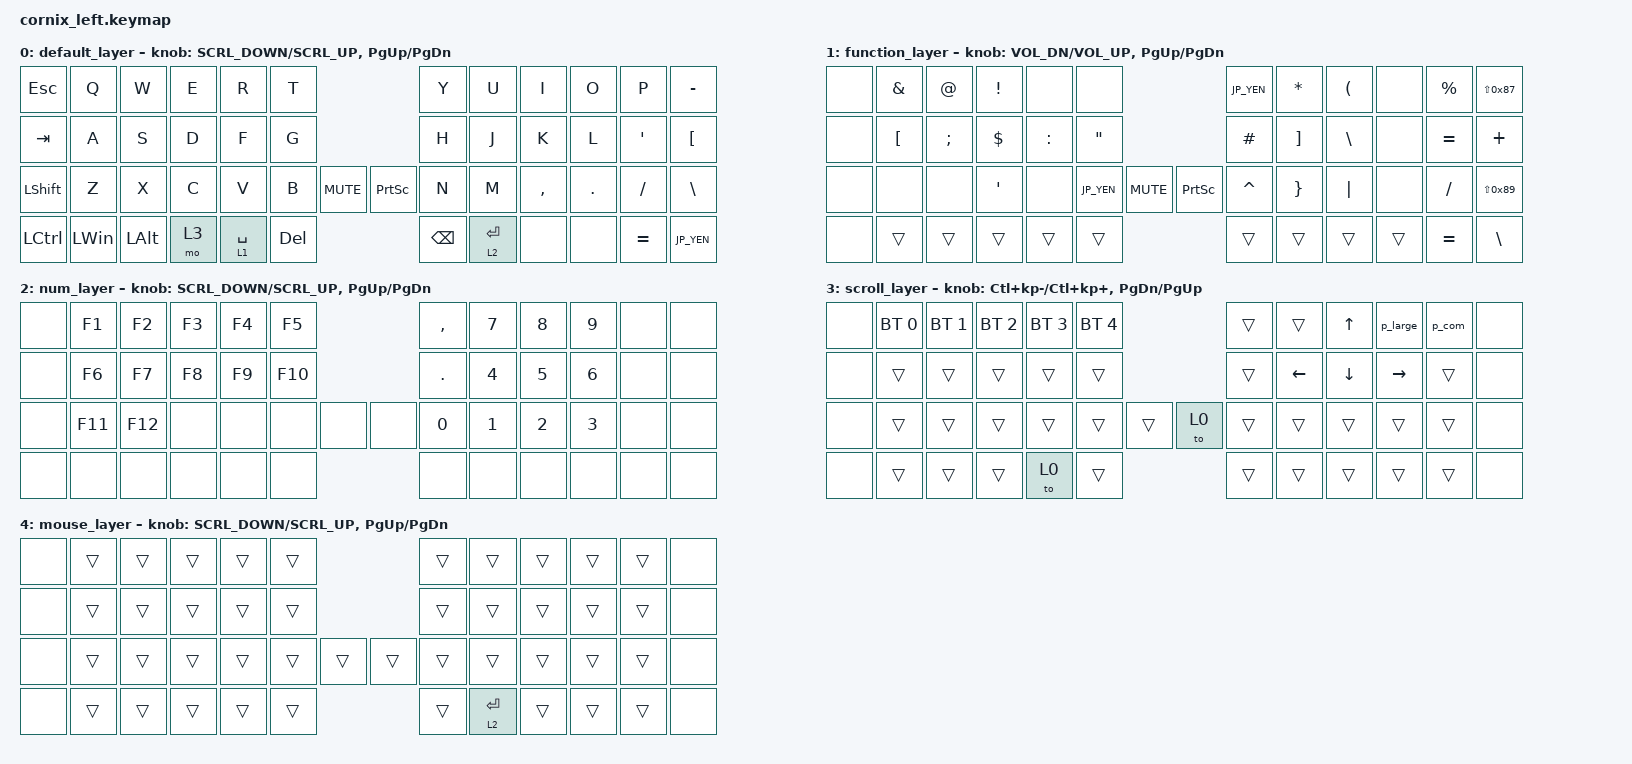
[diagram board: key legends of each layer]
/*
 * Copyright (c) 2025 The ZMK Contributors
 *
 * SPDX-License-Identifier: MIT
 */

#define ZMK_POINTING_DEFAULT_SCRL_VAL 80

#include <input/processors.dtsi>
#include <dt-bindings/zmk/mouse.h>
#include <behaviors.dtsi>
#include <dt-bindings/zmk/bt.h>
#include <dt-bindings/zmk/keys.h>
#include <dt-bindings/zmk/pointing.h>

#define DEFAULT 0
#define FUNCTION 1
#define NUM 2
#define SCROLL 3
#define MOUSE 4

// OS設定を日本語キーボードのまま使用するための変換定義

#define JP_DQUOTE       AT                // "
#define JP_AMPERSAND    CARET             // &
#define JP_QUOTE        AMPERSAND         // '
#define JP_EQUAL        UNDER             // =
#define JP_CARET        EQUAL             // ^
#define JP_YEN          0x89              // ¥
#define JP_PLUS         COLON             // +
#define JP_TILDE        PLUS              // ~
#define JP_PIPE         LS(0x89)          // |
#define JP_AT           LEFT_BRACKET      // @
#define JP_COLON        SINGLE_QUOTE      // :
#define JP_ASTERISK     DOUBLE_QUOTES     // *
#define JP_BACKQUOTE    LEFT_BRACE        // `
#define JP_UNDERSCORE   LS(0x87)          // _
#define JP_LBRACKET     RIGHT_BRACKET     // [
#define JP_RBRACKET     BACKSLASH         // ]
#define JP_LPAREN       ASTERISK          // (
#define JP_RPAREN       LEFT_PARENTHESIS  // )
#define JP_LBRACE       RIGHT_BRACE       // {
#define JP_RBRACE       PIPE              // }
#define JP_KANA         LANGUAGE_1        // かな
#define JP_EISU         LANGUAGE_2        // 英数
#define JP_HANZEN       GRAVE             // 半角/全角

// Configure auto-mouse layer using Input Processor approach
// Based on: https://scrapbox.io/self-made-kbds-ja/ZMK%E3%81%A7%E3%82%AA%E3%83%BC%E3%83%88%E3%83%9E%E3%82%A6%E3%82%B9%E3%83%AC%E3%82%A4%E3%83%A4%E3%83%BC%E3%82%92%E8%A8%AD%E5%AE%9A%E3%81%99%E3%82%8B

&trackball_listener {
    // Auto-mouse layer: activates layer 4 (MOUSE) when trackball moves, 600ms timeout
    // Invert both X and Y axes to reverse trackball direction (180-degree rotation)
    // Value 6 = INPUT_TRANSFORM_X_INVERT (2) | INPUT_TRANSFORM_Y_INVERT (4)
    // Scaler reduces mouse pointer speed to 2/3 for better precision

    input-processors = <
        &zip_xy_transform 6
        &zip_xy_scaler 2 3
        //&zip_temp_layer MOUSE 600
    >;
};

// Scroll mode: layer 3 (SCROLL) activates scroller via overlay configuration
// Scroller configuration is in config/boards/cornix_left.overlay

&mt {
    flavor = "balanced";
    quick-tap-ms = <0>;
};

/ {
    combos {
        compatible = "zmk,combos";

        BT_reset {
            bindings = <&bt BT_CLR>;
            key-positions = <1 5>;
            layers = <3>;
            timeout-ms = <120>;
            require-prior-idle-ms = <150>;
        };

        bootloader {
            bindings = <&none>;
            key-positions = <2 3 4>;
            layers = <3>;
            timeout-ms = <120>;
            require-prior-idle-ms = <150>;
        };

        muhenkan {
            bindings = <&kp INT_MUHENKAN>;
            key-positions = <16 17>;
            layers = <0>;
            timeout-ms = <120>;
            require-prior-idle-ms = <150>;
        };

        henkan {
            bindings = <&kp INT_HENKAN>;
            key-positions = <18 19>;
            layers = <0>;
            timeout-ms = <120>;
            require-prior-idle-ms = <150>;
        };

        mouse1 {
            bindings = <&mkp MB1>;
            key-positions = <19 20>;
            layers = <0>;
            timeout-ms = <120>;
            require-prior-idle-ms = <150>;
        };

        mouse2 {
            bindings = <&mkp MB2>;
            key-positions = <20 21>;
            layers = <0>;
            timeout-ms = <120>;
            require-prior-idle-ms = <150>;
        };

        home {
            bindings = <&kp HOME>;
            key-positions = <28 29>;
            layers = <0>;
            timeout-ms = <120>;
            require-prior-idle-ms = <150>;
        };

        end {
            bindings = <&kp END>;
            key-positions = <32 33>;
            layers = <0>;
            timeout-ms = <120>;
            require-prior-idle-ms = <150>;
        };
    };

    macros {
        to_layer_0: to_layer_0 {
            compatible = "zmk,behavior-macro-one-param";
            #binding-cells = <1>;
            bindings = <&to 0 &macro_param_1to1 &kp MACRO_PLACEHOLDER>;
            label = "TO_LAYER_0";
        };

        p_com: p_com {
            compatible = "zmk,behavior-macro";
            #binding-cells = <0>;
            bindings = <&kp J &kp U &kp N &kp I &kp C &kp H &kp I &kp N0 &kp N2 &kp N2 &kp N4 &kp EXCLAMATION>;
            label = "P_COM";
        };

        p_large: p_large {
            compatible = "zmk,behavior-macro";
            #binding-cells = <0>;
            bindings = <&kp LS(J) &kp U &kp N &kp I &kp C &kp H &kp I &kp N0 &kp N2 &kp N2 &kp N4 &kp EXCLAMATION>;
            label = "P_LARGE";
        };
    };

    behaviors {
        // Auto-mouse layer activates on trackball movement

        auto_mouse: auto_mouse {
            compatible = "zmk,behavior-input-two-axis";
            #binding-cells = <1>;
            x-input-code = <INPUT_REL_X>;
            y-input-code = <INPUT_REL_Y>;
            time-to-max-speed-ms = <300>;
            trigger-period-ms = <16>;
        };

        lt_to_layer_0: lt_to_layer_0 {
            compatible = "zmk,behavior-hold-tap";
            label = "LAYER_TAP_TO_0";
            bindings = <&mo>, <&to_layer_0>;

            #binding-cells = <2>;
            tapping-term-ms = <200>;
        };

        tapdance_kana: tapdance_kana {
            compatible = "zmk,behavior-tap-dance";
            label = "TAPDANCE_KANA";
            #binding-cells = <0>;
            bindings = <&kp INT2>, <&kp LANGUAGE_2>, <&sl 1>;

            tapping-term-ms = <400>;
        };

        WheelScroll: WheelScroll {
            compatible = "zmk,behavior-sensor-rotate-var";
            label = "WHEELSCROLL";
            #sensor-binding-cells = <2>;
            bindings = <&msc>, <&msc>;

            tap-ms = <20>;
        };
    };

    keymap {
        compatible = "zmk,keymap";

        default_layer {
            // -----------------------------------------------------------------------------------------
            // | NONE |  Q  |  W  |  E  |  R  |  T  |                   |  Y  |  U   |  I  |  O  |  P  | NONE |
            // | NONE |  A  |  S  |  D  |  F  |  G  |  MUTE  |  |  UP  | TB  |  J   |  K  |  L  |  -  | NONE |
            // | NONE |  Z  |  X  |  C  |  V  |  B  |  MCLK  |  | DOWN |  N  |  M   |  ,  |  .  |  /  | NONE |
            //               | NONE | CTRL | WIN | ALT | SPC(L1) | GRV(L3) | | BKSP | ENT(L2) | NONE | NONE | NONE | NONE |

            bindings = <
&kp ESC           &kp Q         &kp W         &kp E  &kp R        &kp T                                 &kp Y          &kp U        &kp I      &kp O           &kp P           &kp MINUS
&kp TAB           &kp A         &kp S         &kp D  &kp F        &kp G                                 &kp H          &kp J        &kp K      &kp L           &kp JP_COLON    &kp JP_AT
&kp LEFT_SHIFT    &kp Z         &kp X         &kp C  &kp V        &kp B    &kp C_MUTE  &kp PRINTSCREEN  &kp N          &kp M        &kp COMMA  &kp PERIOD      &kp SLASH       &kp BACKSLASH
&kp LEFT_CONTROL  &kp LEFT_WIN  &kp LEFT_ALT  &mo 3  &lt 1 SPACE  &kp DEL                               &kp BACKSPACE  &lt 2 ENTER  &none      &none   &kp JP_CARET   &kp JP_YEN
            >;

            sensor-bindings = <&WheelScroll SCRL_DOWN SCRL_UP &inc_dec_kp PG_UP PG_DN>;
        };

        function_layer {
            // -----------------------------------------------------------------------------------------
            // | NONE |  F1  |  F2  |  F3  |  F4  |  F5  |                   |  F6  |  F7  |  F8  |  F9  | F10 | NONE |
            // | NONE |  :   |  !   |  /   |  (   |  [   |                   |  _   | MB1  |  UP  | MB2  |  ;  | NONE |
            // | NONE |  ;   |  ?   |  ¥   |  )   |  ]   |   '    |  | TRANS |  @   | LEFT | DOWN | RGT  | F11 | NONE |
            //               | NONE | TRANS| TRANS| TRANS| TRANS | TRANS  |  | TRANS | TRANS| NONE | NONE | NONE | F12 |

            bindings = <
&none  &kp JP_QUOTE  &kp JP_DQUOTE  &kp EXCLAMATION  &none        &none                                         &kp JP_YEN        &kp JP_LPAREN    &kp JP_RPAREN    &none   &kp PERCENT    &kp JP_UNDERSCORE
&none  &kp JP_AT     &kp SEMICOLON  &kp DOLLAR       &kp JP_PLUS  &kp JP_ASTERISK                               &kp HASH          &kp JP_LBRACKET  &kp JP_RBRACKET  &none   &kp JP_CARET   &kp JP_TILDE
&none  &none         &none          &kp JP_COLON     &none        &kp JP_YEN       &kp C_MUTE  &kp PRINTSCREEN  &kp JP_AMPERSAND  &kp JP_LBRACE    &kp JP_RBRACE    &none   &kp SLASH      &kp JP_PIPE
&none  &trans        &trans         &trans           &trans       &trans                                        &trans            &trans           &trans           &trans  &kp JP_CARET   &kp BACKSLASH
            >;

            sensor-bindings = <&inc_dec_kp C_VOL_DN C_VOL_UP &inc_dec_kp PG_UP PG_DN>;
        };

        num_layer {
            // -----------------------------------------------------------------------------------------
            // | NONE | TAB  |  7   |  8   |  9   |  -   |                   |  ]   | TRANS| MB3  | TRANS| TRANS| NONE |
            // | NONE |  *   |  4   |  5   |  6   |  +   |                   |  )   | MB1  |  UP  | MB2  |  :   | NONE |
            // | NONE |  /   |  1   |  2   |  3   |  =   |   `    |  |  DEL  |  }   | LEFT | DOWN | RGT  |  /   | NONE |
            //               | NONE |  ESC |  0   |  .   | TRANS |  DEL   |  | TRANS | TRANS| NONE | NONE | NONE | NONE |

            bindings = <
&none  &kp F1   &kp F2   &kp F3  &kp F4  &kp F5                 &kp COMMA   &kp N7  &kp N8  &kp N9  &none  &none
&none  &kp F6   &kp F7   &kp F8  &kp F9  &kp F10                &kp PERIOD  &kp N4  &kp N5  &kp N6  &none  &none
&none  &kp F11  &kp F12  &none   &none   &none    &none  &none  &kp N0      &kp N1  &kp N2  &kp N3  &none  &none
&none  &none    &none    &none   &none   &none                  &none       &none   &none   &none   &none  &none
            >;

            sensor-bindings = <&WheelScroll SCRL_DOWN SCRL_UP &inc_dec_kp PG_UP PG_DN>;
        };

        scroll_layer {
            // -----------------------------------------------------------------------------------------
            // | NONE | BT0  | BT1  | BT2  | BT3  | BT4  |                   | ⌘⌃← | ⌘TAB | MB3  | TRANS| ⌘⌃→ | NONE |
            // | NONE | TRANS| TRANS| TRANS| TRANS| TRANS|                   | MB4  | MB1  |  UP  | MB2  | MB5  | NONE |
            // | NONE | TRANS| TRANS| TRANS| TRANS| TRANS| TRANS |  |  TO0  | TRANS| LEFT | DOWN | RGT  | TRANS| NONE |
            //               | NONE | TRANS| TRANS| TRANS| TO0   | TRANS  |  | TRANS | TRANS| NONE | NONE | NONE | NONE |

            bindings = <
&none  &bt BT_SEL 0  &bt BT_SEL 1  &bt BT_SEL 2  &bt BT_SEL 3  &bt BT_SEL 4                 &trans  &trans  &kp UP_ARROW  &p_large  &p_com  &none
&none  &trans        &trans        &trans        &trans        &trans                       &trans  &kp LEFT_ARROW  &kp DOWN_ARROW  &kp RIGHT_ARROW  &trans  &none
&none  &trans        &trans        &trans        &trans        &trans        &trans  &to 0  &trans  &trans  &trans  &trans    &trans  &none
&none  &trans        &trans        &trans        &to 0         &trans                       &trans  &trans  &trans  &trans    &trans  &none
            >;

            sensor-bindings = <&inc_dec_kp LC(KP_MINUS) LC(KP_PLUS) &inc_dec_kp PG_DN PG_UP>;
        };

        mouse_layer {
            // -----------------------------------------------------------------------------------------
            // | NONE | TRANS| TRANS| TRANS| TRANS| TRANS|                   | TRANS| TRANS| MB3  | TRANS| TRANS| NONE |
            // | NONE | TRANS| TRANS| TRANS| TRANS| TRANS|        |  |  TO0  | TRANS| MB1  | UP   | MB2  | TRANS| NONE |
            // | NONE | TRANS| TRANS| TRANS| TRANS| TRANS| TRANS |  | TRANS | TRANS| LEFT | DOWN | RGT  | TRANS| NONE |
            //               | NONE | TRANS| TRANS| TRANS| SPC(L1) | GRV(L3) |  | TRANS | ENT(L2) | NONE | NONE | NONE | BOOT |

            bindings = <
&none  &trans  &trans  &trans  &trans       &trans                       &trans  &trans       &trans  &trans  &trans  &none
&none  &trans  &trans  &trans  &trans       &trans                       &trans  &trans       &trans  &trans  &trans  &none
&none  &trans  &trans  &trans  &trans       &trans       &trans  &trans  &trans  &trans       &trans  &trans  &trans  &none
&none  &trans  &trans  &trans  &trans  &trans                            &trans  &lt 2 ENTER  &trans  &trans  &trans  &none
            >;

            sensor-bindings = <&WheelScroll SCRL_DOWN SCRL_UP &inc_dec_kp PG_UP PG_DN>;
        };
    };
};
